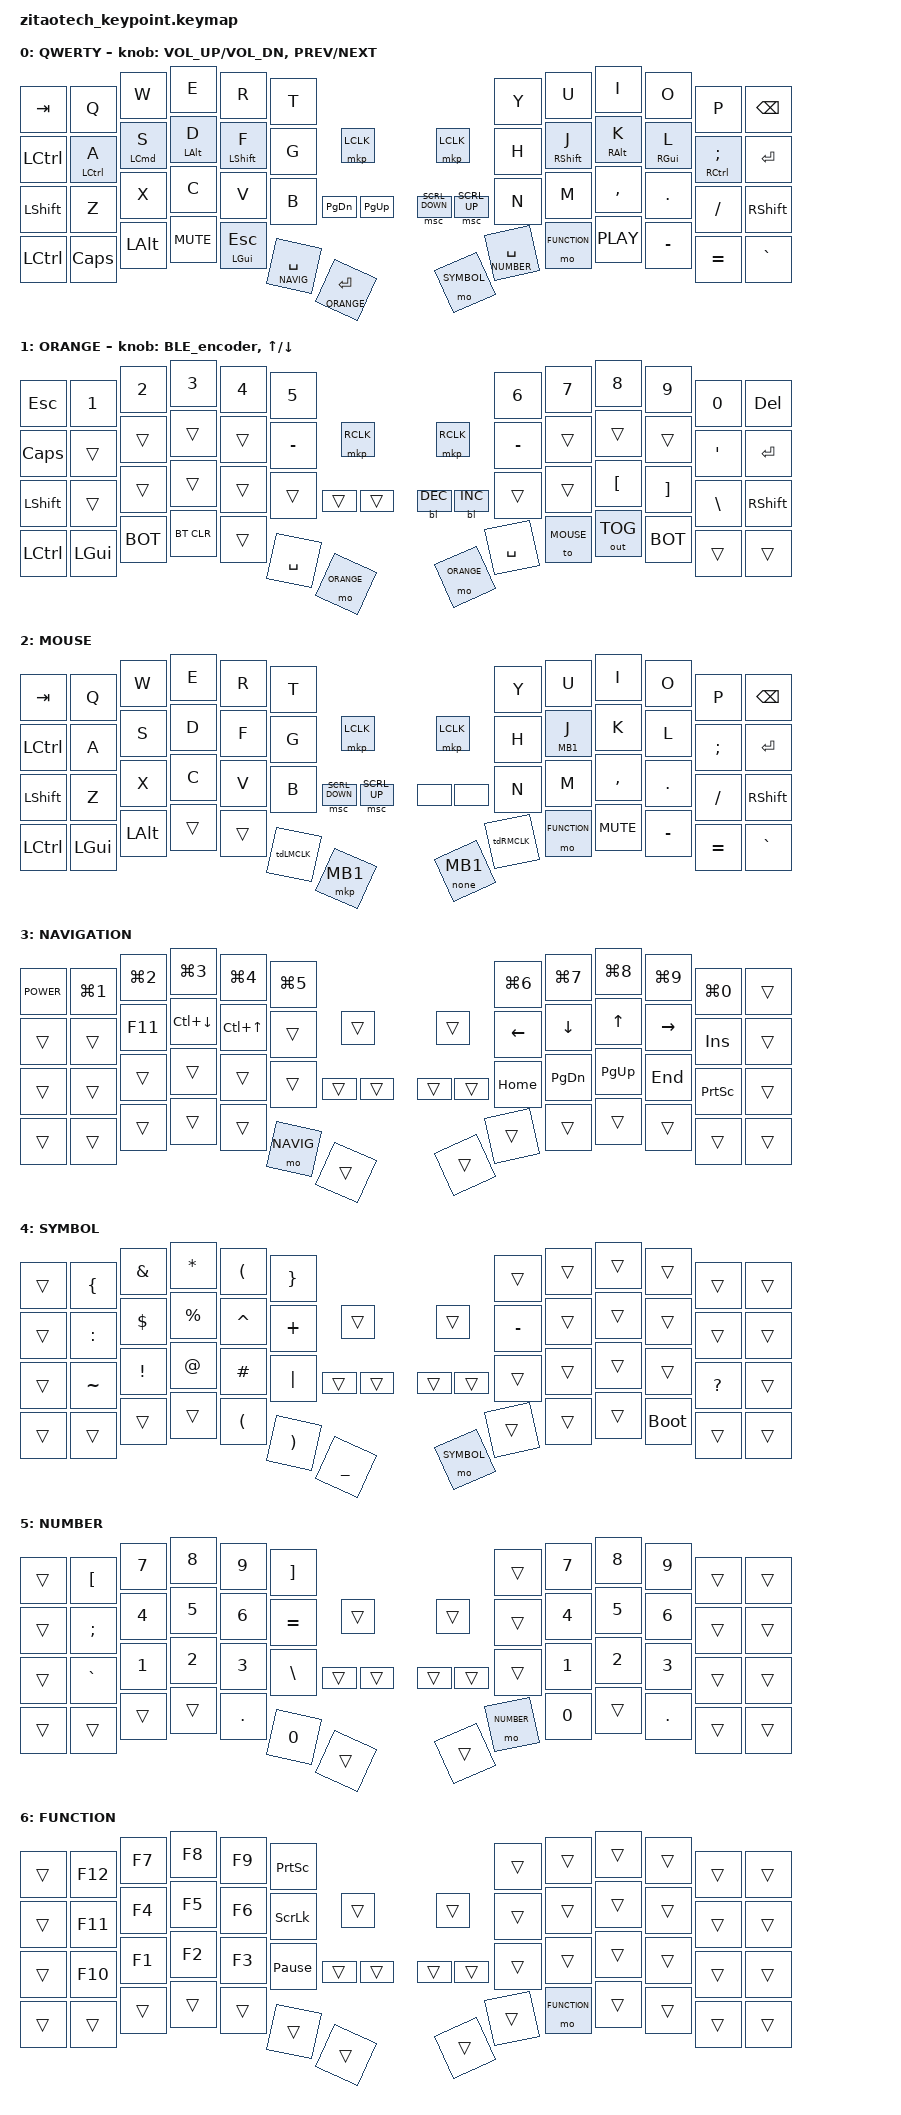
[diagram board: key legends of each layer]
/*
 * Copyright (c) 2025 ZitaoTech
 *
 * SPDX-License-Identifier: MIT
 */

#include <dt-bindings/zmk/mouse.h>
#include <behaviors.dtsi>
#include <dt-bindings/zmk/backlight.h>
#include <dt-bindings/zmk/bt.h>
#include <dt-bindings/zmk/keys.h>
#include <dt-bindings/zmk/outputs.h>
#include <dt-bindings/zmk/pointing.h>

#define QWERTY 0
#define ORANGE 1
#define MOUSE 2
#define NAVIG 3
#define SYMBOL 4
#define NUMBER 5
#define FUNCTION 6
#define BOT bootloader

/ {
    behaviors {
        td0: tap_dance_0 {
            compatible = "zmk,behavior-tap-dance";
            #binding-cells = <0>;
            tapping-term-ms = <400>;
            bindings = <&mkp LCLK>, <&bt BT_CLR>;
        };
    };

    behaviors {
        tdRMCLK: tap_dance_R_LMouse {
            compatible = "zmk,behavior-tap-dance";
            #binding-cells = <0>;
            tapping-term-ms = <400>;
            bindings = <&mkp RCLK>, <&mkp MCLK>;
        };
    };

    behaviors {
        hm: homerow_mods {
            compatible = "zmk,behavior-hold-tap";
            #binding-cells = <2>;
            tapping-term-ms = <200>;
            bindings = <&kp &kp>;
            quick-tap-ms = <160>;
            flavor = "tap-preferred";
            require-prior-idle-ms = <150>;
        };
    };

    behaviors {
        LMouse_sc: behavior_LMouse_Scroll {
            compatible = "zmk,behavior-hold-tap";
            #binding-cells = <2>;
            flavor = "tap-preferred";     /* 单击优先 */
            tapping-term-ms = <200>;       /* 长按阈值 */
            bindings = <&none &mkp>;        /* hold=none, tap=Lmouse */
        };
    };

    behaviors {
        M_kp: behavior_mouse_keypress {
            compatible = "zmk,behavior-hold-tap";
            #binding-cells = <2>;
            flavor = "tap-preferred";     /* 单击优先 */
            tapping-term-ms = <200>;       /* 长按阈值 */
            bindings = <&mkp &kp>;        /* hold=mou key press, tap=key*/
        };
    };

    behaviors {
        BLE_encoder: BLE_encoder {
            compatible = "zmk,behavior-sensor-rotate";
            #sensor-binding-cells = <0>;
            bindings = <&bt BT_NXT>, <&bt BT_PRV>;
        };
    };

    behaviors {
        lt_lower_enter: layer_tap_lower_enter {
            compatible = "zmk,behavior-hold-tap";
            #binding-cells = <2>;
            tapping-term-ms = <170>;
            flavor = "hold-preferred";
            bindings = <&mo>, <&kp>;
        };
    };

    behaviors {
        lt_c: layer_tap_custom {
            compatible = "zmk,behavior-hold-tap";
            #binding-cells = <2>;
            tapping-term-ms = <200>;
            quick-tap-ms = <150>;
            flavor = "balanced";
            bindings = <&mo>, <&kp>;
        };

        tdLMCLK: tap_dance_L_LMouse {
            compatible = "zmk,behavior-tap-dance";
            #binding-cells = <0>;
            tapping-term-ms = <400>;
            bindings = <&mkp MB3>, <&mkp MB2>;
        };

    };

    combos {
        compatible = "zmk,combos";

        left_parenthesis {
            bindings = <&kp LEFT_PARENTHESIS>;
            key-positions = <4 3>;
            layers = <QWERTY>;
            timeout-ms = <25>;
            require-prior-idle-ms = <200>;
        };

        right_parenthesis {
            bindings = <&kp RIGHT_PARENTHESIS>;
            key-positions = <7 8>;
            layers = <QWERTY>;
            timeout-ms = <25>;
            require-prior-idle-ms = <200>;
        };

        left_bracket {
            bindings = <&kp LEFT_BRACKET>;
            key-positions = <15 16>;
            layers = <QWERTY>;
            timeout-ms = <25>;
            require-prior-idle-ms = <200>;
        };

        right_bracket {
            bindings = <&kp RIGHT_BRACKET>;
            key-positions = <21 22>;
            layers = <QWERTY>;
            timeout-ms = <25>;
            require-prior-idle-ms = <200>;
        };

        pipe {
            bindings = <&kp PIPE>;
            key-positions = <5 6>;
            layers = <QWERTY>;
            timeout-ms = <45>;
            require-prior-idle-ms = <200>;
        };

        backslash {
            bindings = <&kp BACKSLASH>;
            key-positions = <17 20>;
            layers = <QWERTY>;
            timeout-ms = <45>;
            require-prior-idle-ms = <200>;
        };

        single_quote {
            bindings = <&kp SINGLE_QUOTE>;
            key-positions = <31 36>;
            layers = <QWERTY>;
            timeout-ms = <45>;
            require-prior-idle-ms = <200>;
        };
    };

    keymap {
        compatible = "zmk,keymap";

        default_layer {
            display-name = "QWERTY";
            bindings = <
&kp TAB           &kp Q               &kp W               &kp E           &kp R         &kp T              &kp Y                         &kp U       &kp I               &kp O              &kp P            &kp BSPC
&kp LEFT_CONTROL  &hm LEFT_CONTROL A  &hm LEFT_COMMAND S  &hm LEFT_ALT D  &hm LSHIFT F  &kp G              &mkp LCLK                     &mkp LCLK   &kp H               &hm RIGHT_SHIFT J  &hm RIGHT_ALT K  &hm RIGHT_GUI L  &hm RIGHT_CONTROL SEMICOLON  &kp ENTER
&kp LSHFT         &kp Z               &kp X               &kp C           &kp V         &kp B              &kp PG_DN                     &kp PG_UP   &msc SCRL_DOWN      &msc SCRL_UP       &kp N            &kp M            &kp COMMA                    &kp DOT    &kp FSLH  &kp RSHFT
&kp LCTRL         &kp CAPS            &kp LALT            &kp C_MUTE      &mt LGUI ESC  &lt_c NAVIG SPACE  &lt_lower_enter ORANGE ENTER  &mo SYMBOL  &lt_c NUMBER SPACE  &mo FUNCTION       &kp C_PLAY       &kp MINUS        &kp EQUAL                    &kp GRAVE
            >;

            sensor-bindings = <&inc_dec_kp C_VOL_UP C_VOL_DN &inc_dec_kp C_PREV C_NEXT>;
        };

        ORANGE_layer {
            display-name = "ORANGE";
            bindings = <
&kp ESC    &kp N1    &kp N2  &kp N3      &kp N4  &kp N5     &kp N6      &kp N7      &kp N8      &kp N9      &kp N0        &kp DEL
&kp CAPS   &trans    &trans  &trans      &trans  &kp MINUS  &mkp RCLK   &mkp RCLK   &kp MINUS   &trans      &trans        &trans   &kp SQT   &kp ENTER
&kp LSHFT  &trans    &trans  &trans      &trans  &trans     &trans      &trans      &bl BL_DEC  &bl BL_INC  &trans        &trans   &kp LBKT  &kp RBKT   &kp BSLH  &kp RSHFT
&kp LCTRL  &kp LGUI  &BOT    &bt BT_CLR  &trans  &kp SPACE  &mo ORANGE  &mo ORANGE  &kp SPACE   &to MOUSE   &out OUT_TOG  &BOT     &trans    &trans
            >;

            sensor-bindings = <&BLE_encoder &inc_dec_kp UP DOWN>;
        };

        MOUSE_layer {
            display-name = "MOUSE";
            bindings = <
&kp TAB           &kp Q     &kp W     &kp E   &kp R   &kp T     &kp Y           &kp U             &kp I          &kp O         &kp P       &kp BSPC
&kp LEFT_CONTROL  &kp A     &kp S     &kp D   &kp F   &kp G     &mkp LCLK       &mkp LCLK         &kp H          &M_kp MB1 J   &kp K       &kp L      &kp SEMI   &kp ENTER
&kp LSHFT         &kp Z     &kp X     &kp C   &kp V   &kp B     &msc SCRL_DOWN  &msc SCRL_UP      &none          &none         &kp N       &kp M      &kp COMMA  &kp DOT    &kp FSLH  &kp RSHFT
&kp LCTRL         &kp LGUI  &kp LALT  &trans  &trans  &tdLMCLK  &mkp MB1        &LMouse_sc 0 MB1  &tdRMCLK       &mo FUNCTION  &kp C_MUTE  &kp MINUS  &kp EQUAL  &kp GRAVE
            >;
        };

        NAVIG_layer {
            display-name = "NAVIGATION";
            bindings = <
&kp C_POWER  &kp LG(N1)  &kp LG(N2)  &kp LG(N3)  &kp LG(N4)  &kp LG(N5)  &kp LG(N6)  &kp LG(N7)  &kp LG(N8)      &kp LG(N9)      &kp LG(N0)    &trans
&trans       &trans      &kp F11     &kp LC(DOWN_ARROW)  &kp LC(UP_ARROW)  &trans      &trans      &trans      &kp LEFT_ARROW  &kp DOWN_ARROW  &kp UP_ARROW  &kp RIGHT      &kp INSERT   &trans
&trans       &trans      &trans      &trans      &trans      &trans      &trans      &trans      &trans          &trans          &kp HOME      &kp PAGE_DOWN  &kp PAGE_UP  &kp END  &kp PRINTSCREEN  &trans
&trans       &trans      &trans      &trans      &trans      &mo NAVIG   &trans      &trans      &trans          &trans          &trans        &trans         &trans       &trans
            >;
        };

        SYMBOL_layer {
            bindings = <
&trans  &kp LEFT_BRACE  &kp AMPERSAND  &kp ASTERISK  &kp LEFT_PARENTHESIS  &kp RIGHT_BRACE        &trans          &trans      &trans     &trans  &trans  &trans
&trans  &kp COLON       &kp DOLLAR     &kp PERCENT   &kp CARET             &kp PLUS               &trans          &trans      &kp MINUS  &trans  &trans  &trans       &trans  &trans
&trans  &kp TILDE       &kp EXCL       &kp AT_SIGN   &kp HASH              &kp PIPE               &trans          &trans      &trans     &trans  &trans  &trans       &trans  &trans  &kp QUESTION  &trans
&trans  &trans          &trans         &trans        &kp LEFT_PARENTHESIS  &kp RIGHT_PARENTHESIS  &kp UNDERSCORE  &mo SYMBOL  &trans     &trans  &trans  &bootloader  &trans  &trans
            >;

            label = "SYMBOL";
        };

        NUMBER_layer {
            bindings = <
&trans  &kp LBKT   &kp N7  &kp N8  &kp N9   &kp RBKT   &trans  &kp N7  &kp N8      &kp N9  &trans  &trans
&trans  &kp SEMI   &kp N4  &kp N5  &kp N6   &kp EQUAL  &trans  &trans  &trans      &kp N4  &kp N5  &kp N6  &trans  &trans
&trans  &kp GRAVE  &kp N1  &kp N2  &kp N3   &kp BSLH   &trans  &trans  &trans      &trans  &trans  &kp N1  &kp N2  &kp N3  &trans  &trans
&trans  &trans     &trans  &trans  &kp DOT  &kp N0     &trans  &trans  &mo NUMBER  &kp N0  &trans  &kp DOT  &trans  &trans
            >;

            label = "NUMBER";
        };

        FUNCTION_layer {
            bindings = <
&trans  &kp F12  &kp F7  &kp F8  &kp F9  &kp PRINTSCREEN  &trans  &trans  &trans  &trans        &trans  &trans
&trans  &kp F11  &kp F4  &kp F5  &kp F6  &kp SCROLLLOCK   &trans  &trans  &trans  &trans        &trans  &trans  &trans  &trans
&trans  &kp F10  &kp F1  &kp F2  &kp F3  &kp PAUSE_BREAK  &trans  &trans  &trans  &trans        &trans  &trans  &trans  &trans  &trans  &trans
&trans  &trans   &trans  &trans  &trans  &trans           &trans  &trans  &trans  &mo FUNCTION  &trans  &trans  &trans  &trans
            >;

            label = "FUNCTION";
        };
    };
};
